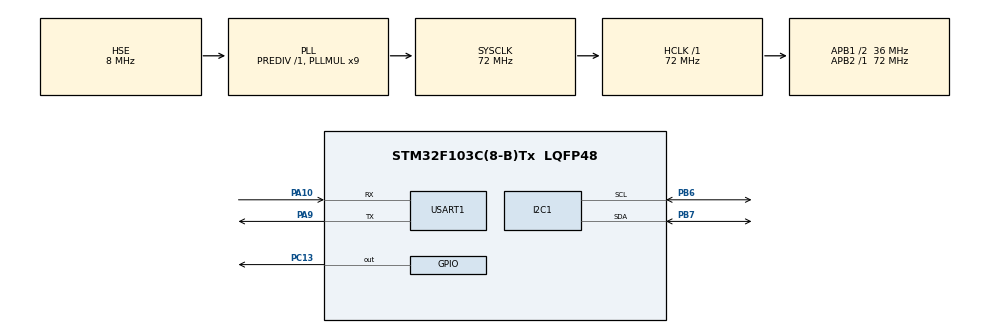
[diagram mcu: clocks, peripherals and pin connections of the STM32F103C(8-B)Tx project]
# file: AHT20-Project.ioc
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Mcu.Family=STM32F1
Mcu.Name=STM32F103C(8-B)Tx
Mcu.Package=LQFP48
NVIC.PriorityGroup=NVIC_PRIORITYGROUP_4
PA10.Mode=Asynchronous
PA10.Signal=USART1_RX
PA13.Mode=Serial_Wire
PA13.Signal=SYS_JTMS-SWDIO
PA14.Mode=Serial_Wire
PA14.Signal=SYS_JTCK-SWCLK
PA9.Mode=Asynchronous
PA9.Signal=USART1_TX
PB6.Mode=I2C
PB6.Signal=I2C1_SCL
PB7.Mode=I2C
PB7.Signal=I2C1_SDA
PC13-TAMPER-RTC.Signal=GPIO_Output
PD0-OSC_IN.Mode=HSE-External-Oscillator
PD0-OSC_IN.Signal=RCC_OSC_IN
PD1-OSC_OUT.Mode=HSE-External-Oscillator
PD1-OSC_OUT.Signal=RCC_OSC_OUT
ProjectManager.HeapSize=0x200
ProjectManager.StackSize=0x400
ProjectManager.TargetToolchain=MDK-ARM V5
RCC.AHBFreq_Value=72000000
RCC.APB1CLKDivider=RCC_HCLK_DIV2
RCC.APB1Freq_Value=36000000
RCC.APB1TimFreq_Value=72000000
RCC.APB2Freq_Value=72000000
RCC.APB2TimFreq_Value=72000000
RCC.HCLKFreq_Value=72000000
RCC.PLLMUL=RCC_PLL_MUL9
RCC.PLLSourceVirtual=RCC_PLLSOURCE_HSE
RCC.SYSCLKFreq_VALUE=72000000
RCC.SYSCLKSource=RCC_SYSCLKSOURCE_PLLCLK
RCC.USBFreq_Value=72000000
USART1.VirtualMode=VM_ASYNC
board=custom

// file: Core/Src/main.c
#include "main.h"
#include "i2c.h"
#include "usart.h"
#include "gpio.h"
#include <stdio.h>
#include <string.h>
#include "aht20.h"
#include "oled.h"  // 添加OLED头文件

/* USER CODE BEGIN PV */
float temperature = 0.0;
float humidity = 0.0;
char uart_buf[64];
uint32_t last_measure_time = 0;
uint8_t oled_available = 1;  // OLED可用
/* USER CODE END PV */

void SystemClock_Config(void);
uint8_t OLED_Test(void);

int main(void)
{
  HAL_Init();
  SystemClock_Config();
  MX_GPIO_Init();
  MX_I2C1_Init();
  MX_USART1_UART_Init();

  /* USER CODE BEGIN 2 */
  // 系统启动信息
  uint8_t startup_msg[] = "\r\n=== AHT20温湿度采集系统 ===\r\n";
  HAL_UART_Transmit(&huart1, startup_msg, sizeof(startup_msg)-1, 1000);

  // 测试并初始化OLED
  uint8_t oled_test_msg[] = "初始化OLED显示屏...\r\n";
  HAL_UART_Transmit(&huart1, oled_test_msg, sizeof(oled_test_msg)-1, 1000);

  if(OLED_Test() == 0)
  {
      uint8_t oled_ok[] = "? OLED通信正常！\r\n";
      HAL_UART_Transmit(&huart1, oled_ok, sizeof(oled_ok)-1, 1000);

      OLED_Init();
      uint8_t oled_init_ok[] = "? OLED初始化完成！\r\n";
      HAL_UART_Transmit(&huart1, oled_init_ok, sizeof(oled_init_ok)-1, 1000);

      oled_available = 1;
  }
  else
  {
      uint8_t oled_fail[] = "? OLED通信失败，跳过显示功能\r\n";
      HAL_UART_Transmit(&huart1, oled_fail, sizeof(oled_fail)-1, 1000);
      oled_available = 0;
  }

  // 初始化AHT20
  HAL_Delay(100);
  uint8_t init_msg[] = "初始化AHT20传感器...\r\n";
  HAL_UART_Transmit(&huart1, init_msg, sizeof(init_msg)-1, 1000);

  if(AHT20_Init() == 0)
  {
      uint8_t success_msg[] = "AHT20初始化成功！\r\n";
      HAL_UART_Transmit(&huart1, success_msg, sizeof(success_msg)-1, 1000);
  }
  else
  {
      uint8_t fail_msg[] = "AHT20初始化失败！\r\n";
      HAL_UART_Transmit(&huart1, fail_msg, sizeof(fail_msg)-1, 1000);
  }

  HAL_Delay(1000);
  /* USER CODE END 2 */

  /* USER CODE BEGIN WHILE */
  uint32_t counter = 0;
  while (1)
  {
    // LED闪烁指示程序运行
    HAL_GPIO_TogglePin(GPIOC, GPIO_PIN_13);

    // 每隔2秒采集一次温湿度
    if(HAL_GetTick() - last_measure_time >= 2000)
    {
        last_measure_time = HAL_GetTick();

        // 采集温湿度
        AHT20_Read_Process(&temperature, &humidity);

        // 通过串口输出
        sprintf(uart_buf, "[%lu] 温度:%.2f℃ 湿度:%.2f%%", counter, temperature, humidity);

        // OLED显示
        if(oled_available)
        {
            strcat(uart_buf, " [OLED显示]");
            OLED_ShowTempHumi(temperature, humidity);
        }
        else
        {
            strcat(uart_buf, " [无OLED]");
        }

        strcat(uart_buf, "\r\n");
        HAL_UART_Transmit(&huart1, (uint8_t*)uart_buf, strlen(uart_buf), 1000);

        counter++;
    }

    HAL_Delay(100);
  }
  /* USER CODE END WHILE */
}

// OLED通信测试
uint8_t OLED_Test(void)
{
    if(HAL_I2C_IsDeviceReady(&hi2c1, 0x78, 3, 10) == HAL_OK)
    {
        uint8_t init_cmd = 0xAE;
        if(HAL_I2C_Master_Transmit(&hi2c1, 0x78, &init_cmd, 1, 100) == HAL_OK)
        {
            return 0;
        }
    }
    return 1;
}

// 保持原有的SystemClock_Config和Error_Handler
void SystemClock_Config(void)
{
  RCC_OscInitTypeDef RCC_OscInitStruct = {0};
  RCC_ClkInitTypeDef RCC_ClkInitStruct = {0};

  RCC_OscInitStruct.OscillatorType = RCC_OSCILLATORTYPE_HSE;
  RCC_OscInitStruct.HSEState = RCC_HSE_ON;
  RCC_OscInitStruct.HSEPredivValue = RCC_HSE_PREDIV_DIV1;
  RCC_OscInitStruct.HSIState = RCC_HSI_ON;
  RCC_OscInitStruct.PLL.PLLState = RCC_PLL_ON;
  RCC_OscInitStruct.PLL.PLLSource = RCC_PLLSOURCE_HSE;
  RCC_OscInitStruct.PLL.PLLMUL = RCC_PLL_MUL9;
  if (HAL_RCC_OscConfig(&RCC_OscInitStruct) != HAL_OK)
  {
    Error_Handler();
  }

  RCC_ClkInitStruct.ClockType = RCC_CLOCKTYPE_HCLK|RCC_CLOCKTYPE_SYSCLK|RCC_CLOCKTYPE_PCLK1|RCC_CLOCKTYPE_PCLK2;
  RCC_ClkInitStruct.SYSCLKSource = RCC_SYSCLKSOURCE_PLLCLK;
  RCC_ClkInitStruct.AHBCLKDivider = RCC_SYSCLK_DIV1;
  RCC_ClkInitStruct.APB1CLKDivider = RCC_HCLK_DIV2;
  RCC_ClkInitStruct.APB2CLKDivider = RCC_HCLK_DIV1;

  if (HAL_RCC_ClockConfig(&RCC_ClkInitStruct, FLASH_LATENCY_2) != HAL_OK)
  {
    Error_Handler();
  }
}

void Error_Handler(void)
{
  __disable_irq();
  while (1)
  {
  }
}
